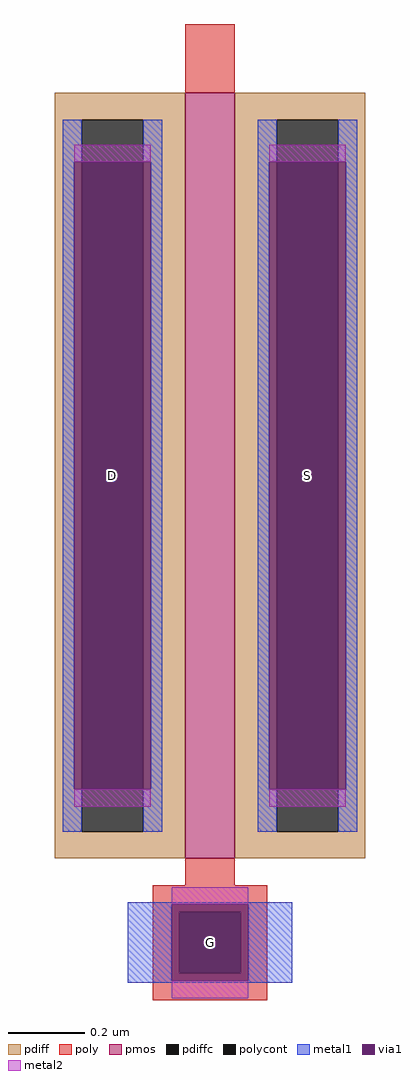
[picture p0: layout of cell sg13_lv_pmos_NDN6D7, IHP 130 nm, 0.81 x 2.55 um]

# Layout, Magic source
magic
tech ihp-sg13g2
magscale 1 2
<< pmos >>
rect -13 -181 13 219
<< pdiff >>
rect -81 205 -13 219
rect -81 -167 -67 205
rect -35 -167 -13 205
rect -81 -181 -13 -167
rect 13 205 81 219
rect 13 -167 35 205
rect 67 -167 81 205
rect 13 -181 81 -167
<< pdiffc >>
rect -67 -167 -35 205
rect 35 -167 67 205
<< poly >>
rect -13 219 13 255
rect -13 -195 13 -181
rect -30 -209 30 -195
rect -30 -241 -16 -209
rect 16 -241 30 -209
rect -30 -255 30 -241
<< polycont >>
rect -16 -241 16 -209
<< metal1 >>
rect -77 183 -67 205
rect -35 183 -25 205
rect -77 -145 -71 183
rect -31 -145 -25 183
rect -77 -167 -67 -145
rect -35 -167 -25 -145
rect 25 183 35 205
rect 67 183 77 205
rect 25 -145 31 183
rect 71 -145 77 183
rect 25 -167 35 -145
rect 67 -167 77 -145
rect -43 -205 43 -204
rect -43 -245 -20 -205
rect 20 -245 43 -205
rect -43 -246 43 -245
<< via1 >>
rect -71 -145 -67 183
rect -67 -145 -35 183
rect -35 -145 -31 183
rect 31 -145 35 183
rect 35 -145 67 183
rect 67 -145 71 183
rect -20 -209 20 -205
rect -20 -241 -16 -209
rect -16 -241 16 -209
rect 16 -241 20 -209
rect -20 -245 20 -241
<< metal2 >>
rect -71 183 -31 192
rect -71 -154 -31 -145
rect 31 183 71 192
rect 31 -154 71 -145
rect -20 -205 20 -196
rect -20 -254 20 -245
<< labels >>
rlabel pdiffc -51 19 -51 19 0 D
port 1 nsew
rlabel pdiffc 51 19 51 19 0 S
port 2 nsew
rlabel polycont 0 -225 0 -225 0 G
port 3 nsew
<< properties >>
string gencell sg13_lv_pmos
string library sg13g2
string parameters w 2 l 0.13 m 1 nf 1 diffcov 100 polycov 100 guard 0 glc 1 grc 1 gtc 1 gbc 1 tbcov 100 rlcov 100 topc 0 botc 1 poverlap 0 doverlap 1 lmin 0.13 wmin 0.15 class mosfet compatible {sg13_lv_pmos sg13_hv_pmos} full_metal 1 conn_gates 0 gate_ring 0 ccols 1 viasrc 100 viadrn 100 viagate 100 viagb 0 viagr 0 viagl 0 viagt 0 doports 1
<< end >>
